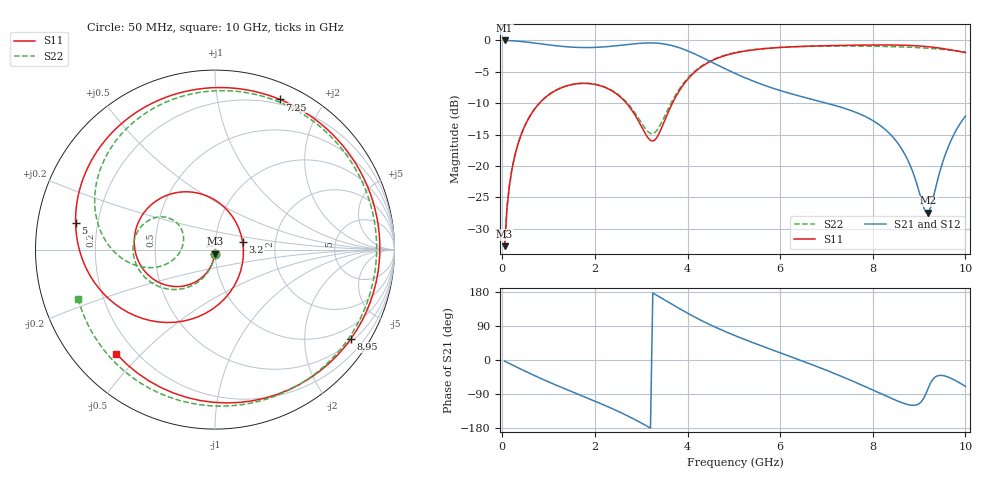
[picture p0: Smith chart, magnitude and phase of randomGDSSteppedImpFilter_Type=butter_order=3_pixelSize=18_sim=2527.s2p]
! freq	dB(S11)	phase(S11)	dB(S12)	phase(S12)
!  dB(S21)	phase(S21)	dB(S22)	phase(S22)
!S-par simulation data
#  GHz  S  DB  R 50
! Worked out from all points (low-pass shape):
!   200 points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, 50 MHz to 10 GHz, reference 50 ohm
!   highest |S21| = -0.01 dB at 50 MHz (marker M1); lowest = -27.4 dB at 9.2 GHz (marker M2)
!   |S21| within 3 dB of the highest: start of sweep to 4.398 GHz
!   lowest |S11| = -32.8 dB at 50 MHz (marker M3), VSWR 1.05, Z = 49.8 - j2.29 ohm
!   |S11| at or under -10 dB: start of sweep to 802.5 MHz; 2.681 GHz to 3.674 GHz (993.3 MHz wide, 31.3 % of centre)
!   |S22| runs from -32.8 to -0.9 dB; largest |S21 - S12| = 0
!   S11 on the Smith chart (normalised r, x): 50 MHz: 1.00, -0.05; 3.2 GHz: 1.36, +0.12; 5 GHz: 0.12, +0.09; 7.25 GHz: 0.15, +1.51; 8.95 GHz: 0.59, -3.24; 10 GHz: 0.13, -0.42
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0.05  -32.77 -93.1  -0.01 -3.1  -0.01 -3.1  -32.76 -92.9
0.1  -26.80 -96.5  -0.02 -6.1  -0.02 -6.1  -26.80 -96.0
0.2  -20.89 -103.1  -0.05 -12.2  -0.05 -12.2  -20.89 -102.0
0.5  -13.39 -121.8  -0.24 -29.9  -0.24 -29.9  -13.38 -119.1
1.1  -8.19 -156.8  -0.80 -63.0  -0.80 -63.0  -8.18 -150.3
1.75  -6.84 167.2  -1.14 -96.0  -1.14 -96.0  -6.82 -179.8
2.55  -9.02 114.7  -0.78 -138.2  -0.78 -138.2  -8.90 149.5
3.2  -15.93 16.0  -0.40 -179.6  -0.40 -179.6  -14.82 165.3
3.4  -14.59 -40.0  -0.48 166.2  -0.48 166.2  -13.62 -171.9
4.1  -5.43 -132.4  -1.97 116.9  -1.97 116.9  -5.27 -177.0
4.55  -3.14 -164.9  -3.57 89.5  -3.57 89.5  -3.06 161.7
5  -2.04 169.3  -5.17 65.6  -5.17 65.6  -1.99 140.7
5.05  -1.96 166.7  -5.33 63.1  -5.33 63.1  -1.91 138.4
5.9  -1.17 126.7  -7.75 23.6  -7.75 23.6  -1.16 100.4
6.7  -0.90 91.7  -9.41 -12.9  -9.41 -12.9  -0.93 62.7
7.25  -0.80 66.6  -10.50 -39.5  -10.50 -39.5  -0.89 33.6
7.85  -0.74 36.6  -12.16 -71.0  -12.16 -71.0  -0.91 -2.3
8.35  -0.73 7.9  -14.74 -98.5  -14.74 -98.5  -0.98 -35.9
8.95  -0.86 -33.3  -22.82 -118.2  -22.82 -118.2  -1.14 -80.2
9.2  -1.01 -53.6  -27.44 -73.5  -27.44 -73.5  -1.25 -99.4
9.6  -1.40 -90.6  -17.51 -43.8  -17.51 -43.8  -1.50 -130.4
10  -1.94 -133.4  -12.06 -69.4  -12.06 -69.4  -1.82 -160.3
